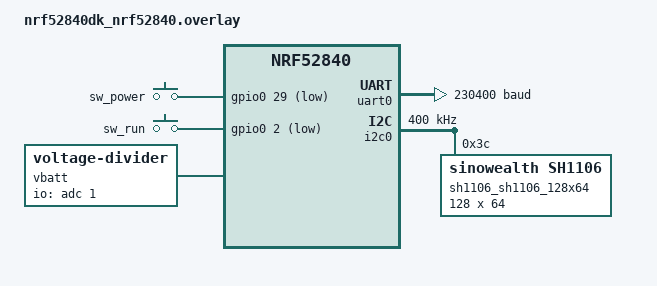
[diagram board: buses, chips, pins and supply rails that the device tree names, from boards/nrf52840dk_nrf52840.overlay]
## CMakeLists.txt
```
#
# Copyright (c) 2019 TDK Invensense
#
# SPDX-License-Identifier: Apache-2.0
#

cmake_minimum_required(VERSION 3.20.0)
find_package(Zephyr REQUIRED HINTS $ENV{ZEPHYR_BASE})
project(icm42605)

target_compile_definitions(app PRIVATE
    CHIPSEL_594X
)

add_subdirectory(lib)
add_subdirectory(src)
```

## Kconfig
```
# Copyright (c) 2019 Peter Bigot Consulting, LLC
# SPDX-License-Identifier: Apache-2.0

mainmenu "Ad5940 zdephyr porting"

config SQR_WAVE_VOLTAMMETRY
	bool "SqrWaveVoltammery sample"
	default y
	help
	    SqrWaveVoltammery sample https://github.com/analogdevicesinc/ad5940-examples/tree/master/examples/AD5940_SqrWaveVoltammetry

config CHRONO_AMPEROMETRIC
    bool "ChronoAmperometric sample"
    default n
    help
        ChronoAmperometric sample https://github.com/analogdevicesinc/ad5940-examples/tree/master/examples/AD5940_ChronoAmperometric

source "Kconfig.zephyr"
```

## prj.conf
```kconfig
#
# Copyright (c) 2019 Nordic Semiconductor ASA
#
# SPDX-License-Identifier: Apache-2.0
#

CONFIG_MAIN_STACK_SIZE=4096

# Log config
CONFIG_LOG=y
CONFIG_LOG_MODE_IMMEDIATE=y

# Debug config
CONFIG_DEBUG_INFO=y
CONFIG_DEBUG_COREDUMP=y
CONFIG_THREAD_ANALYZER=y

# Shell config
CONFIG_SHELL=y
CONFIG_SHELL_BACKEND_DUMMY=y

# CONFIG FPU
CONFIG_FPU=y

# New_LIB
CONFIG_NEWLIB_LIBC=y
CONFIG_NEWLIB_LIBC_FLOAT_PRINTF=y

# Power Manager
CONFIG_PM_DEVICE=y
CONFIG_PM_DEVICE_RUNTIME=y
CONFIG_POWEROFF=y
```

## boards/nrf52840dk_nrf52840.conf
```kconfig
CONFIG_SPI=y

# Button Configuration
CONFIG_INPUT=y
CONFIG_INPUT_GPIO_KEYS=y
CONFIG_INPUT_THREAD_STACK_SIZE=2048

# Battery Configuration
CONFIG_ADC=y

# Display Configuration
CONFIG_LV_Z_MEM_POOL_SIZE=16384
CONFIG_LV_Z_SHELL=y

CONFIG_DISPLAY=y
CONFIG_DISPLAY_LOG_LEVEL_ERR=y

CONFIG_LVGL=y
CONFIG_LV_MEM_CUSTOM=y
CONFIG_LV_USE_LOG=y
CONFIG_LV_USE_LABEL=y
CONFIG_LV_USE_BTN=y
CONFIG_LV_USE_ARC=y
CONFIG_LV_USE_IMG=y
CONFIG_LV_USE_MONKEY=y

CONFIG_LV_FONT_MONTSERRAT_48=y
CONFIG_LV_FONT_MONTSERRAT_24=y
CONFIG_LV_FONT_MONTSERRAT_16=y
CONFIG_LV_FONT_MONTSERRAT_12=y
CONFIG_LV_FONT_MONTSERRAT_10=y
CONFIG_LV_FONT_MONTSERRAT_8=y

CONFIG_LV_Z_VDB_SIZE=64
CONFIG_LV_DPI_DEF=148
CONFIG_LV_Z_BITS_PER_PIXEL=1
CONFIG_LV_COLOR_DEPTH_1=y

CONFIG_CPU_LOAD=y
```

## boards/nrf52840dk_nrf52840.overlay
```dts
/delete-node/ &uart1;
/delete-node/ &spi2;
/delete-node/ &spi3;
/delete-node/ &pwm0;
/delete-node/ &qspi;
/delete-node/ &usbd;

/{
	/delete-node/ leds;
	/delete-node/ pwmleds;
	/delete-node/ buttons;
	/delete-node/ connector;
	/delete-node/ analog-connector;
	/delete-node/ aliases;
	chosen {
		zephyr,display = &sh1106_sh1106_128x64;
	};
	buttons {
		compatible = "gpio-keys";
		sw_power: sw_power {
			label = "sw_power";
			gpios = <&gpio0 29 (GPIO_ACTIVE_LOW)>;
			zephyr,code = <INPUT_KEY_0>;
		};
		// charge_in: charge_in {
		// 	label = "charge_in";
		// 	gpios = <&gpio0 30 (GPIO_ACTIVE_HIGH)>;
		// 	zephyr,code = <INPUT_KEY_1>;
		// };
		// charge_state: charge_state {
		// 	label = "charge_state";
		// 	gpios = <&gpio0 31 (GPIO_ACTIVE_HIGH)>;
		// 	zephyr,code = <INPUT_KEY_2>;
		// };
		sw_run: sw_run {
			label = "sw_run";
			gpios = <&gpio0 2 (GPIO_ACTIVE_LOW)>;
			zephyr,code = <INPUT_KEY_3>;
		};
		debounce-interval-ms = <20>;
	};

	vbatt {
		compatible = "voltage-divider";
		io-channels = <&adc 1>;
		output-ohms = <73200>;
		full-ohms = <(30000 + 73200)>;
	 };
};

&uart0 {
	current-speed = <230400>;
};

&i2c0 {
	clock-frequency = <I2C_BITRATE_FAST>;
	sh1106_sh1106_128x64: sh1106@3c {
		compatible = "sinowealth,sh1106";
		reg = <0x3c>;
		width = <128>;
		height = <64>;
		segment-offset = <2>;
		page-offset = <0>;
		display-offset = <0>;
		multiplex-ratio = <63>;
		segment-remap;
		com-invdir;
		prechargep = <0x22>;
	};
};

&spi1 {
	compatible = "nordic,nrf-spim";
};

&pinctrl {
	uart0_default: uart0_default {
		group1 {
			psels = <NRF_PSEL(UART_TX, 0, 5)>,
				<NRF_PSEL(UART_RTS, 0, 8)>;
		};
		group2 {
			psels = <NRF_PSEL(UART_RX, 0, 4)>,
				<NRF_PSEL(UART_CTS, 0, 7)>;
			bias-pull-up;
		};
	};
	uart0_sleep: uart0_sleep {
		group1 {
			psels = <NRF_PSEL(UART_TX, 0,5)>,
				<NRF_PSEL(UART_RX, 0, 4)>,
				<NRF_PSEL(UART_RTS, 0, 8)>,
				<NRF_PSEL(UART_CTS, 0, 7)>;
			low-power-enable;
		};
	};

	spi1_default: spi1_default {
		group1 {
			psels = <NRF_PSEL(SPIM_SCK, 0, 23)>,
				<NRF_PSEL(SPIM_MOSI, 0, 22)>,
				<NRF_PSEL(SPIM_MISO, 0, 21)>;
		};
	};

	spi1_sleep: spi1_sleep {
		group1 {
			psels = <NRF_PSEL(SPIM_SCK, 0, 23)>,
				<NRF_PSEL(SPIM_MOSI, 0, 22)>,
				<NRF_PSEL(SPIM_MISO, 0, 21)>;
			low-power-enable;
		};
	};

	i2c0_default: i2c0_default {
		group1 {
			psels = <NRF_PSEL(TWIM_SDA, 0, 13)>,
				<NRF_PSEL(TWIM_SCL, 0, 14)>;
		};
	};

	i2c0_sleep: i2c0_sleep {
		group1 {
			psels = <NRF_PSEL(TWIM_SDA, 0, 13)>,
				<NRF_PSEL(TWIM_SCL, 0, 14)>;
			low-power-enable;
		};
	};
};
```

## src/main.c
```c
#include <zephyr/kernel.h>
#include <zephyr/device.h>
#include <zephyr/drivers/gpio.h>
#include <zephyr/input/input.h>

#include <zephyr/logging/log.h>
LOG_MODULE_REGISTER(app);

extern void power_off();

int main(void)
{
	// extern void create_ad5940_main(void);
	// create_ad5940_main();
	extern void ad5940_main(void *, void *, void *);
	ad5940_main(NULL, NULL, NULL);
	return 0;
}


#include <zephyr/drivers/gpio.h>

void led_toggle_point(void *, void *, void *){
	int ret;

	ret = gpio_pin_configure(DEVICE_DT_GET(DT_NODELABEL(gpio0)), 12, GPIO_OUTPUT);
	if (ret < 0) {
		return;
	}

	int cnt = 0;
	while (1) {
		if (cnt == 5) {
			ret = gpio_pin_toggle(DEVICE_DT_GET(DT_NODELABEL(gpio0)), 12);
			if (ret < 0) {
				return;
			}
			cnt = 0;
		}
		if (gpio_pin_get(DEVICE_DT_GET(DT_NODELABEL(gpio0)), 30) == 1) {
			power_off();
			return;
		}
		cnt+=1;
		k_msleep(100);
	}
}

K_THREAD_DEFINE(led_toggle_tid, 512,
                led_toggle_point, NULL, NULL, NULL,
                14, 0, 0);

int module_power_init(void) {
	// power_off pin
	gpio_pin_configure(DEVICE_DT_GET(DT_NODELABEL(gpio0)), 28, GPIO_OUTPUT);
	gpio_pin_set(DEVICE_DT_GET(DT_NODELABEL(gpio0)), 28, 1);

	gpio_pin_configure(DEVICE_DT_GET(DT_NODELABEL(gpio0)), 30, GPIO_INPUT);
	if (gpio_pin_get(DEVICE_DT_GET(DT_NODELABEL(gpio0)), 30) == 1) {
		power_off();
	}

	// led on
	gpio_pin_configure(DEVICE_DT_GET(DT_NODELABEL(gpio0)), 12, GPIO_OUTPUT);
	gpio_pin_set(DEVICE_DT_GET(DT_NODELABEL(gpio0)), 12, 1);

	// display power on
	gpio_pin_configure(DEVICE_DT_GET(DT_NODELABEL(gpio0)), 17, GPIO_OUTPUT);
	gpio_pin_set(DEVICE_DT_GET(DT_NODELABEL(gpio0)), 17, 1);
	return 0;
}

SYS_INIT(module_power_init, EARLY, 0);
```

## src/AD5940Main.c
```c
/*!
 *****************************************************************************
 @file:    AD5940Main.c
 @author:  $Author: nxu2 $
 @brief:   Used to control specific application and process data.
 @version: $Revision: 766 $
 @date:    $Date: 2017-08-21 14:09:35 +0100 (Mon, 21 Aug 2017) $
 -----------------------------------------------------------------------------

Copyright (c) 2017-2019 Analog Devices, Inc. All Rights Reserved.

This software is proprietary to Analog Devices, Inc. and its licensors.
By using this software you agree to the terms of the associated
Analog Devices Software License Agreement.

*****************************************************************************/
#include "SqrWaveVoltammetry.h"

/**
   User could configure following parameters
**/

#define APPBUFF_SIZE 1024
uint32_t AppBuff[APPBUFF_SIZE];
float LFOSCFreq;    /* Measured LFOSC frequency */

/**
 * @brief An example to deal with data read back from AD5940. Here we just print data to UART
 * @note UART has limited speed, it has impact when sample rate is fast. Try to print some of the data not all of them.
 * @param pData: the buffer stored data for this application. The data from FIFO has been pre-processed.
 * @param DataCount: The available data count in buffer pData.
 * @return return 0.
*/
static int32_t RampShowResult(float *pData, uint32_t DataCount)
{
  static uint32_t index;
  /* Print data*/
  for(int i=0;i<DataCount;i++)
  {
    printf("index:%d, %.3f\n", index++, pData[i]);
    //printf("%.3f\n",pData[i]);
    //index++;
    //i += 10;  /* Print though UART consumes too much time. */
  }
  return 0;
}

/**
 * @brief The general configuration to AD5940 like FIFO/Sequencer/Clock. 
 * @note This function will firstly reset AD5940 using reset pin.
 * @return return 0.
*/
static int32_t AD5940PlatformCfg(void)
{
  CLKCfg_Type clk_cfg;
  SEQCfg_Type seq_cfg;  
  FIFOCfg_Type fifo_cfg;
  AGPIOCfg_Type gpio_cfg;
  LFOSCMeasure_Type LfoscMeasure;

  /* Use hardware reset */
  AD5940_HWReset();
  AD5940_Initialize();    /* Call this right after AFE reset */
	
  /* Platform configuration */
  /* Step1. Configure clock */
  clk_cfg.HFOSCEn = bTRUE;
  clk_cfg.HFXTALEn = bFALSE;
  clk_cfg.LFOSCEn = bTRUE;
  clk_cfg.HfOSC32MHzMode = bFALSE;
  clk_cfg.SysClkSrc = SYSCLKSRC_HFOSC;
  clk_cfg.SysClkDiv = SYSCLKDIV_1;
  clk_cfg.ADCCLkSrc = ADCCLKSRC_HFOSC;
  clk_cfg.ADCClkDiv = ADCCLKDIV_1;
  AD5940_CLKCfg(&clk_cfg);
  /* Step2. Configure FIFO and Sequencer*/
  fifo_cfg.FIFOEn = bTRUE;           /* We will enable FIFO after all parameters configured */
  fifo_cfg.FIFOMode = FIFOMODE_FIFO;
  fifo_cfg.FIFOSize = FIFOSIZE_4KB;   /* 2kB for FIFO, The reset 4kB for sequencer */
  fifo_cfg.FIFOSrc = FIFOSRC_SINC3;   /* */
  fifo_cfg.FIFOThresh = 4;            /*  Don't care, set it by application paramter */
  AD5940_FIFOCfg(&fifo_cfg);
  seq_cfg.SeqMemSize = SEQMEMSIZE_2KB;  /* 4kB SRAM is used for sequencer, others for data FIFO */
  seq_cfg.SeqBreakEn = bFALSE;
  seq_cfg.SeqIgnoreEn = bTRUE;
  seq_cfg.SeqCntCRCClr = bTRUE;
  seq_cfg.SeqEnable = bFALSE;
  seq_cfg.SeqWrTimer = 0;
  AD5940_SEQCfg(&seq_cfg);
  /* Step3. Interrupt controller */
  AD5940_INTCCfg(AFEINTC_1, AFEINTSRC_ALLINT, bTRUE);   /* Enable all interrupt in INTC1, so we can check INTC flags */
  AD5940_INTCClrFlag(AFEINTSRC_ALLINT);
  AD5940_INTCCfg(AFEINTC_0, AFEINTSRC_DATAFIFOTHRESH|AFEINTSRC_ENDSEQ|AFEINTSRC_CUSTOMINT0, bTRUE); 
  AD5940_INTCClrFlag(AFEINTSRC_ALLINT);
  /* Step4: Configure GPIOs */
  gpio_cfg.FuncSet = GP0_INT|GP1_SLEEP|GP2_SYNC;  /* GPIO1 indicates AFE is in sleep state. GPIO2 indicates ADC is sampling. */
  gpio_cfg.InputEnSet = 0;
  gpio_cfg.OutputEnSet = AGPIO_Pin0|AGPIO_Pin1|AGPIO_Pin2;
  gpio_cfg.OutVal = 0;
  gpio_cfg.PullEnSet = 0;
  AD5940_AGPIOCfg(&gpio_cfg);
  /* Measure LFOSC frequency */
  /**@note Calibrate LFOSC using system clock. The system clock accuracy decides measurement accuracy. Use XTAL to get better result. */
  LfoscMeasure.CalDuration = 1000.0;  /* 1000ms used for calibration. */
  LfoscMeasure.CalSeqAddr = 0;        /* Put sequence commands from start address of SRAM */
  LfoscMeasure.SystemClkFreq = 16000000.0f; /* 16MHz in this firmware. */
  AD5940_LFOSCMeasure(&LfoscMeasure, &LFOSCFreq);
  printf("LFOSC Freq:%f\n", LFOSCFreq);
 // AD5940_SleepKeyCtrlS(SLPKEY_UNLOCK);         /*  */
  return 0;
}

/**
 * @brief The interface for user to change application paramters.
 * @return return 0.
*/
void AD5940RampStructInit(void)
{
  AppSWVCfg_Type *pRampCfg;
  
  AppSWVGetCfg(&pRampCfg);
  /* Step1: configure general parmaters */
  pRampCfg->SeqStartAddr = 0x10;                /* leave 16 commands for LFOSC calibration.  */
  pRampCfg->MaxSeqLen = 512-0x10;              /* 4kB/4 = 1024  */
  pRampCfg->RcalVal = 10000.0;                  /* 10kOhm RCAL */
  pRampCfg->ADCRefVolt = 1.820f;               /* The real ADC reference voltage. Measure it from capacitor C12 with DMM. */
  pRampCfg->FifoThresh = 1023;                   /* Maximum value is 2kB/4-1 = 512-1. Set it to higher value to save power. */
  pRampCfg->SysClkFreq = 16000000.0f;           /* System clock is 16MHz by default */
  pRampCfg->LFOSCClkFreq = LFOSCFreq;           /* LFOSC frequency */
	pRampCfg->AdcPgaGain = ADCPGA_1P5;
	pRampCfg->ADCSinc3Osr = ADCSINC3OSR_4;
  
	/* Step 2:Configure square wave signal parameters */
  pRampCfg->RampStartVolt = -400.0f;     /* Measurement starts at 0V*/
  pRampCfg->RampPeakVolt = 0.0f;     		 /* Measurement finishes at -0.4V */
  pRampCfg->VzeroStart = 1300.0f;           /* Vzero is voltage on SE0 pin: 1.3V */
  pRampCfg->VzeroPeak = 1300.0f;          /* Vzero is voltage on SE0 pin: 1.3V */
  pRampCfg->Frequency = 750;                 /* Frequency of square wave in Hz */
  pRampCfg->SqrWvAmplitude = 150;       /* Amplitude of square wave in mV */
  pRampCfg->SqrWvRampIncrement = 5; /* Increment in mV*/
  pRampCfg->SampleDelay = 0.2f;             /* Time between update DAC and ADC sample. Unit is ms and must be < (1/Frequency)/2 - 0.2*/
  pRampCfg->LPTIARtiaSel = LPTIARTIA_1K;      /* Maximum current decides RTIA value */
	pRampCfg->bRampOneDir = bFALSE;//bTRUE;			/* Only measure ramp in one direction */
}

void AD5940_Main(void)
{
  uint32_t temp;  
  AD5940PlatformCfg();
  AD5940RampStructInit();
	
	//AD5940_McuSetLow();
  AppSWVInit(AppBuff, APPBUFF_SIZE);    /* Initialize RAMP application. Provide a buffer, which is used to store sequencer commands */
	
	
	AD5940_Delay10us(100000);		/* Add a delay to allow sensor reach equilibrium befor starting the measurement */
  AppSWVCtrl(APPCTRL_START, 0);          /* Control IMP measurement to start. Second parameter has no meaning with this command. */

  while(1)
  {
    if(AD5940_GetMCUIntFlag())
    {
      AD5940_ClrMCUIntFlag();
      temp = APPBUFF_SIZE;
      AppSWVISR(AppBuff, &temp);
      RampShowResult((float*)AppBuff, temp);
    }

  }
}
```

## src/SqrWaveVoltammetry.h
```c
/*!
 *****************************************************************************
 @file:    RampTest.H
 @author:  $Author: nxu2 $
 @brief:   Ramp Test header file.
 @version: $Revision: 766 $
 @date:    $Date: 2017-08-21 14:09:35 +0100 (Mon, 21 Aug 2017) $
 -----------------------------------------------------------------------------

Copyright (c) 2017-2019 Analog Devices, Inc. All Rights Reserved.

This software is proprietary to Analog Devices, Inc. and its licensors.
By using this software you agree to the terms of the associated
Analog Devices Software License Agreement.

*****************************************************************************/
#ifndef _SWVTEST_H_
#define _SWVTEST_H_
#include "ad5940.h"
#include <stdio.h>
#include "string.h"
#include "math.h"

/* Do not modify following parameters */
#define ALIGIN_VOLT2LSB     0   /* Set it to 1 to align each voltage step to 1LSB of DAC. 0: step code is fractional. */
#define DAC12BITVOLT_1LSB   (2200.0f/4095)  //mV
#define DAC6BITVOLT_1LSB    (DAC12BITVOLT_1LSB*64)  //mV

/**
 * The Ramp application related paramter structure
*/
typedef struct
{
/* Common configurations for all kinds of Application. */
  BoolFlag  bParaChanged;         /**< Indicate to generate sequence again. It's auto cleared by AppBIAInit */
  uint32_t  SeqStartAddr;         /**< Initialaztion sequence start address in SRAM of AD5940  */
  uint32_t  MaxSeqLen;            /**< Limit the maximum sequence.   */
  uint32_t  SeqStartAddrCal;      /**< Not used for Ramp.Calibration sequence start address in SRAM of AD5940 */
  uint32_t  MaxSeqLenCal;         /**< Not used for Ramp. */
/* Application related parameters */ 
  float     LFOSCClkFreq;         /**< The clock frequency of Wakeup Timer in Hz. Typically it's 32kHz. Leave it here in case we calibrate clock in software method */
  float     SysClkFreq;           /**< The real frequency of system clock */
  float     AdcClkFreq;           /**< The real frequency of ADC clock */
  float     RcalVal;              /**< Rcal value in Ohm */
  float     ADCRefVolt;           /**< The real ADC voltage in mV. */
  /* Describe Ramp signal */
  float     RampStartVolt;        /**< The start voltage of ramp signal in mV */
  float     RampPeakVolt;         /**< The maximum or minimum voltage of ramp in mV */
  float     VzeroStart;           /**< The start voltage of Vzero in mV. Set it to 2400mV by default */
  float     VzeroPeak;            /**< The peak voltage of Vzero in mV. Set it to 200mV by default */
  uint32_t  StepNumber;           /**< Total number of steps. Limited to 4095. */
  /* Receive path configuration */
  float     SampleDelay;          /**< The time delay between update DAC and start ADC */
  uint32_t  LPTIARtiaSel;         /**< Select RTIA */
  float     ExternalRtiaValue;    /**< The optional external RTIA value in Ohm. Disconnect internal RTIA to use external RTIA. When using internal RTIA, this value is ignored. */
  uint32_t  AdcPgaGain;           /**< PGA Gain select from GNPGA_1, GNPGA_1_5, GNPGA_2, GNPGA_4, GNPGA_9 !!! We must ensure signal is in range of +-1.5V which is limited by ADC input stage */   
  uint8_t   ADCSinc3Osr;          /**< We use data from SINC3 filter. */
  /* Digital related */
  uint32_t  FifoThresh;           /**< FIFO Threshold value */
/* Private variables for internal usage */
  BoolFlag  SWVInited;           /**< If the program run firstly, generated initialization sequence commands */
  fImpPol_Type  RtiaValue;        /**< Calibrated Rtia value */
  SEQInfo_Type  InitSeqInfo;
  SEQInfo_Type  ADCSeqInfo;
  BoolFlag      bFirstDACSeq;     /**< Init DAC sequence */
  SEQInfo_Type  DACSeqInfo;       /**< The first DAC update sequence info */
  uint32_t  CurrStepPos;          /**< Current position */     
  float     DACCodePerStep;       /**< DAC codes in square waveform */
  float     DACCodePerRamp;       /**< DAC codes needed to ramp increment */
  float     CurrRampCode;         /**<  */   
  float     Frequency;						/**< Frequency of square wave */
  float     SqrWvAmplitude;       /**< Set amplitude of square wave */
  float     SqrWvRampIncrement;   /**< Ramp increase in mV */
  uint32_t  CurrVzeroCode;        
  BoolFlag  bDACCodeInc;          /**< Increase DAC code.  */
  BoolFlag  bSqrWaveHiLevel;			/**< Flag to indicate square wave high level */
	BoolFlag bRampOneDir;						/**< Ramp in one direction only */
  BoolFlag  StopRequired;         /**< After FIFO is ready, stop the measurement sequence */
  enum _RampState{SWV_STATE0 = 0, SWV_STATE1, SWV_STATE2, SWV_STATE3, SWV_STATE4, SWV_STOP} RampState;
}AppSWVCfg_Type;

#define APPCTRL_START          0
#define APPCTRL_STOPNOW        1
#define APPCTRL_STOPSYNC       2
#define APPCTRL_SHUTDOWN       3   /**< Note: shutdown here means turn off everything and put AFE to hibernate mode. The word 'SHUT DOWN' is only used here. */

AD5940Err AppSWVInit(uint32_t *pBuffer, uint32_t BufferSize);
AD5940Err AppSWVGetCfg(void *pCfg);
AD5940Err AppSWVISR(void *pBuff, uint32_t *pCount);
AD5940Err AppSWVCtrl(uint32_t Command, void *pPara);
void AD5940_McuSetLow(void);
void AD5940_McuSetHigh(void);

#endif
```

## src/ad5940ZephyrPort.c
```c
#include <ad5940.h>
#include <zephyr/kernel.h>
#include <zephyr/device.h>
#include <zephyr/drivers/spi.h>
#include <zephyr/drivers/gpio.h>

#define _gpio(port, pin) DEVICE_DT_GET(DT_NODELABEL(gpio##port)), pin
#define CS_PIN _gpio(0, 24)
#define RST_PIN _gpio(1, 0)

#define _INT_GPIO_PORT DEVICE_DT_GET(DT_NODELABEL(gpio0))
#define _INT_GPIO_PIN 20
#define INT_PIN _gpio(0, _INT_GPIO_PIN)

const struct device *spi_dev = DEVICE_DT_GET(DT_NODELABEL(spi0));

K_MSGQ_DEFINE(run_int, 4, 30, 4);
void gpio_int_callback(const struct device *dev, struct gpio_callback *cb, uint32_t pins) {
    int dummy = 0;
    k_msgq_put(&run_int, &dummy, K_NO_WAIT);
}
static struct gpio_callback gpio_int_cb;


/**
    @brief Using SPI to transmit N bytes and return the received bytes. This function targets to
                        provide a more efficent way to transmit/receive data.
    @param pSendBuffer :{0 - 0xFFFFFFFF}
        - Pointer to the data to be sent.
    @param pRecvBuff :{0 - 0xFFFFFFFF}
        - Pointer to the buffer used to store received data.
    @param length :{0 - 0xFFFFFFFF}
        - Data length in SendBuffer.
    @return None.
**/
void AD5940_ReadWriteNBytes(unsigned char *pSendBuffer,unsigned char *pRecvBuff,unsigned long length)
{
    struct spi_config spi_cfg = {
        .frequency = 1000000,
        .operation = SPI_WORD_SET(8) | SPI_TRANSFER_MSB,
        .slave = 0,
        .cs = NULL,
    };

    struct spi_buf tx_buf = {
        .buf = pSendBuffer,
        .len = length
    };
    struct spi_buf_set tx = {
        .buffers = &tx_buf,
        .count = 1
    };

    struct spi_buf rx_buf = {
        .buf = pRecvBuff,
        .len = length
    };
    struct spi_buf_set rx = {
        .buffers = &rx_buf,
        .count = 1
    };

    spi_transceive(spi_dev, &spi_cfg, &tx, &rx);
}

void AD5940_CsClr(void)
{
    gpio_pin_set(CS_PIN, 0); // CS = Low
}

void AD5940_CsSet(void)
{
    gpio_pin_set(CS_PIN, 1); // CS = High
}

void AD5940_RstSet(void)
{
    gpio_pin_set(RST_PIN, 1); // RST = High
}

void AD5940_RstClr(void)
{
    gpio_pin_set(RST_PIN, 0); // RST = Low
}

void AD5940_Delay10us(uint32_t time)
{
    k_usleep(10*time);
}

uint32_t AD5940_GetMCUIntFlag(void)
{
    int dummy = 0;
    k_msgq_get(&run_int, &dummy, K_FOREVER);
    return 1;
}

uint32_t AD5940_ClrMCUIntFlag(void)
{
    return 1;
}

uint32_t AD5940_MCUResourceInit(void *pCfg)
{
    // set cs, rst
    gpio_pin_configure(CS_PIN, GPIO_OUTPUT);
    gpio_pin_configure(RST_PIN, GPIO_OUTPUT);

    //set interrupt
    gpio_pin_configure(INT_PIN, GPIO_INPUT | GPIO_PULL_UP);
    gpio_pin_interrupt_configure(INT_PIN, GPIO_INT_EDGE_FALLING);
    gpio_init_callback(&gpio_int_cb, gpio_int_callback, BIT(_INT_GPIO_PIN));
    gpio_add_callback(_INT_GPIO_PORT, &gpio_int_cb);
    return 0;
}
```

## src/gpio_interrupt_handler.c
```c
#include <zephyr/kernel.h>
#include <zephyr/device.h>
#include <zephyr/shell/shell.h>
#include <zephyr/drivers/gpio.h>
#include <zephyr/input/input.h>

#include <zephyr/pm/device.h>
#include <zephyr/sys/poweroff.h>

#include <zephyr/logging/log.h>
LOG_MODULE_REGISTER(ISR);

#include <battery.h>
#include <ad5940_state.h>

K_SEM_DEFINE(sensor_work, 0, 1);

static void isr_handler(void *, void *, void *) {

    while(1) {
        k_sem_take(&sensor_work, K_FOREVER);
        shell_execute_cmd(NULL, "run_sqr_wave");
        shell_execute_cmd(NULL, "run_chrono_amperometric");
    }
}
K_THREAD_DEFINE(isr_handler_tid, 4096,
                isr_handler, NULL, NULL, NULL,
                14, 0, 0);

void power_off()  {
    // int rc = pm_device_action_run(cons, PM_DEVICE_ACTION_SUSPEND);
    // if (rc < 0) {
    // 	printf("Could not suspend console (%d)\n", rc);
    // 	return 0;
    // }
    gpio_pin_configure(DEVICE_DT_GET(DT_NODELABEL(gpio0)), 12, GPIO_INPUT);
    gpio_pin_configure(DEVICE_DT_GET(DT_NODELABEL(gpio0)), 17, GPIO_INPUT);
    gpio_pin_configure(DEVICE_DT_GET(DT_NODELABEL(gpio0)), 19, GPIO_INPUT);

    gpio_pin_interrupt_configure(DEVICE_DT_GET(DT_NODELABEL(gpio0)), 29, GPIO_INT_LEVEL_ACTIVE);
    // gpio_pin_interrupt_configure(DEVICE_DT_GET(DT_NODELABEL(gpio0)), 30, GPIO_INT_EDGE_RISING);

    gpio_pin_set(DEVICE_DT_GET(DT_NODELABEL(gpio0)), 28, 0);
    k_busy_wait(1000*100);
    sys_poweroff();
}

void power_off_work_handler(struct k_work *work) {
    power_off();
}

K_WORK_DELAYABLE_DEFINE(power_off_work, power_off_work_handler);

static void action_logical_low(struct input_event *evt) {
    switch (evt->code)
    {
    case INPUT_KEY_0:
        k_work_cancel_delayable(&power_off_work);
        break;
    case INPUT_KEY_1:
        break;
    case INPUT_KEY_2:
        set_charging_status(true);
        break;
    case INPUT_KEY_3:
        break;
    }
}

static void action_logical_high(struct input_event *evt) {
    switch (evt->code)
    {
    case INPUT_KEY_0:
        k_work_schedule(&power_off_work, K_MSEC(1000));
        break;
    case INPUT_KEY_1:
        break;
    case INPUT_KEY_2:
        set_charging_status(false);
        break;
    case INPUT_KEY_3:
        if (get_ad5940_state() == AD5940_STATE_BUSY)
            return;
        k_sem_give(&sensor_work);
        break;
    }
}

static void gpio_intterupt_cb(struct input_event *evt)
{
	if (evt->type != INPUT_EV_KEY)
		return ;
	if (evt->value) {
        action_logical_high(evt);
	} else { //release
        action_logical_low(evt);
	}
	LOG_INF("test type[%d] value[%d] code[%d] sync[%d]", evt->type, evt->value, evt->code, evt->sync);
	return;
}
INPUT_CALLBACK_DEFINE(NULL, gpio_intterupt_cb);
```

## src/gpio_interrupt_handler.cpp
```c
#include <zephyr/kernel.h>
#include <zephyr/device.h>
#include <zephyr/drivers/gpio.h>
#include <zephyr/input/input.h>

#include <zephyr/pm/device.h>
#include <zephyr/sys/poweroff.h>

#include <zephyr/logging/log.h>
LOG_MODULE_REGISTER(ISR);

static void power_off(struct input_event *evt)  {
    // int rc = pm_device_action_run(cons, PM_DEVICE_ACTION_SUSPEND);
    // if (rc < 0) {
    // 	printf("Could not suspend console (%d)\n", rc);
    // 	return 0;
    // }
    gpio_pin_configure(DEVICE_DT_GET(DT_NODELABEL(gpio0)), 12, GPIO_INPUT);
    gpio_pin_configure(DEVICE_DT_GET(DT_NODELABEL(gpio0)), 17, GPIO_INPUT);
    gpio_pin_configure(DEVICE_DT_GET(DT_NODELABEL(gpio0)), 19, GPIO_INPUT);

    gpio_pin_interrupt_configure(DEVICE_DT_GET(DT_NODELABEL(gpio0)), 29, GPIO_INT_LEVEL_ACTIVE);
    gpio_pin_interrupt_configure(DEVICE_DT_GET(DT_NODELABEL(gpio0)), 30, GPIO_INT_EDGE_RISING);

    sys_poweroff();
}

static void action_logical_low(struct input_event *evt) {
    switch (evt->code)
    {
    case INPUT_KEY_0:
        break;
    case INPUT_KEY_1:
    case INPUT_KEY_2:
        break;
    }
}

static void action_logical_high(struct input_event *evt) {
    switch (evt->code)
    {
    case INPUT_KEY_0:
        power_off(evt);
        break;
    case INPUT_KEY_1:
    case INPUT_KEY_2:
        break;
    }
}

static void gpio_intterupt_cb(struct input_event *evt)
{
	if (evt->type != INPUT_EV_KEY)
		return ;
	if (evt->value) {
        action_logical_high(evt);
	} else { //release
        action_logical_low(evt);
	}
	LOG_INF("test type[%d] value[%d] code[%d] sync[%d]", evt->type, evt->value, evt->code, evt->sync);
	return;
}
INPUT_CALLBACK_DEFINE(NULL, gpio_intterupt_cb);
```
